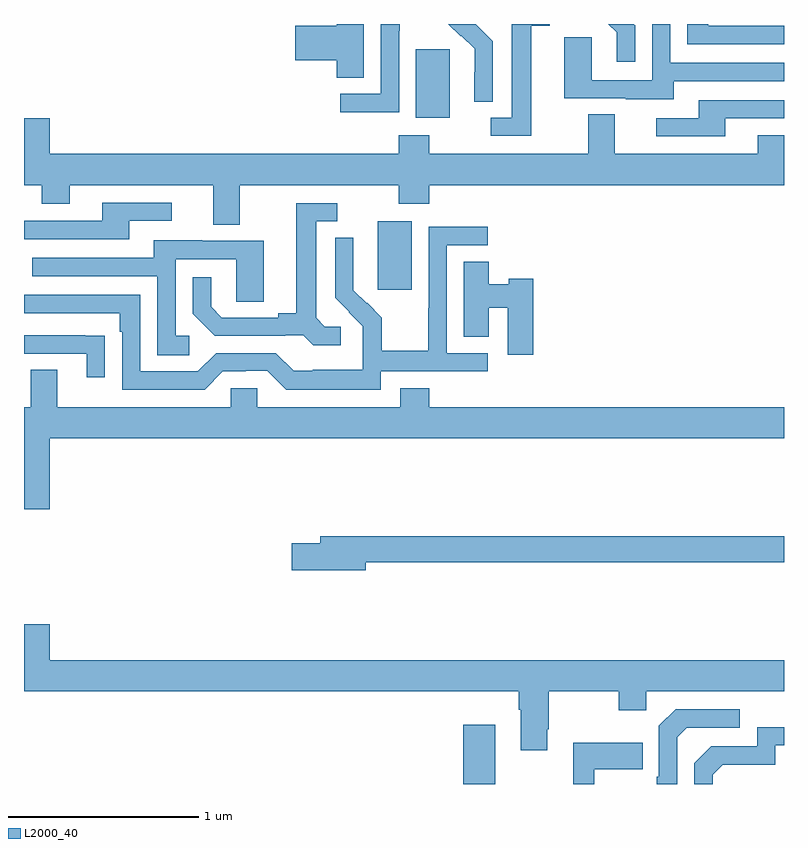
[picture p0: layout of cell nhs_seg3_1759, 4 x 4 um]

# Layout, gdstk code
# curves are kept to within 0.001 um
import gdstk
lib = gdstk.Library(unit=1e-6, precision=1e-09)
def R(c, l, rs):  # rectangles x0, y0, x1, y1
    for r in rs: c.add(gdstk.rectangle(r[:2], r[2:], *l))
def P(c, l, *ps):  # polygons
    for p in ps: c.add(gdstk.Polygon(p, *l))
L2000_40 = (2000, 40)

nhs_seg3_1759 = lib.new_cell('nhs_seg3_1759')
R(nhs_seg3_1759, L2000_40, [(203.312,728.4,203.479,728.713), (202.862,731.001,203.041,731.362), (203.063,731.906,203.242,732.267)])
P(nhs_seg3_1759, L2000_40, [(204.216,732.394),(204.21,732.4),(204.076,732.4),(204.119,732.357),(204.119,732.201),(204.216,732.201)],
  [(202.789,732.4),(202.646,732.4),(202.646,732.392),(202.428,732.392),(202.428,732.209),(202.646,732.209),(202.646,732.118),(202.789,732.118)],
  [(202.974,732.364),(202.977,732.364),(202.977,732.4),(202.878,732.4),(202.878,732.033),(202.665,732.033),(202.665,731.935),(202.974,731.935)],
  [(203.466,732.31),(203.393,732.383),(203.394,732.384),(203.378,732.4),(203.234,732.4),(203.298,732.336),(203.301,732.339),(203.372,732.269),(203.372,732.146),(203.37,732.146),(203.37,731.992),(203.466,731.992)],
  [(204.421,732.099),(205,732.099),(205,732.195),(204.402,732.195),(204.402,732.4),(204.306,732.4),(204.306,732.105),(203.988,732.105),(203.988,732.329),(203.843,732.329),(203.843,732.009),(204.167,732.009),(204.167,732.005),(204.421,732.005)],
  [(205,732.39),(204.601,732.39),(204.601,732.4),(204.492,732.4),(204.492,732.294),(205,732.294)],
  [(203.671,732.392),(203.767,732.392),(203.767,732.4),(203.567,732.4),(203.567,731.907),(203.457,731.907),(203.457,731.811),(203.671,731.811)],
  [(204.691,731.904),(205,731.904),(205,732),(204.551,732),(204.551,731.904),(204.327,731.904),(204.327,731.808),(204.691,731.808)],
  [(202.135,731.552),(202.972,731.552),(202.972,731.453),(203.132,731.453),(203.132,731.552),(205,731.552),(205,731.815),(204.863,731.815),(204.863,731.716),(204.109,731.716),(204.109,731.924),(203.969,731.924),(203.969,731.716),(203.133,731.716),(203.133,731.815),(202.973,731.815),(202.973,731.716),(201.136,731.716),(201.136,731.905),(201,731.905),(201,731.552),(201.094,731.552),(201.094,731.453),(201.241,731.453),(201.241,731.552),(201.995,731.552),(201.995,731.344),(202.135,731.344)],
  [(201.553,731.364),(201.778,731.364),(201.778,731.46),(201.413,731.46),(201.413,731.364),(201,731.364),(201,731.268),(201.553,731.268)],
  [(202.666,730.806),(202.584,730.806),(202.537,730.853),(202.537,731.361),(202.648,731.361),(202.648,731.457),(202.433,731.457),(202.433,730.877),(202.337,730.877),(202.337,730.854),(202.042,730.854),(201.985,730.911),(201.985,731.068),(201.888,731.068),(201.888,730.874),(202.004,730.758),(202.376,730.758),(202.376,730.761),(202.47,730.761),(202.522,730.709),(202.666,730.709)],
  [(202.878,730.572),(203.44,730.572),(203.44,730.668),(203.226,730.668),(203.226,731.235),(203.44,731.235),(203.44,731.334),(203.13,731.334),(203.13,730.904),(203.128,730.904),(203.128,730.681),(202.883,730.681),(202.883,730.855),(202.806,730.932),(202.803,730.929),(202.733,731),(202.734,731.276),(202.638,731.276),(202.638,730.958),(202.784,730.81),(202.784,730.713),(202.782,730.713),(202.782,730.579),(202.519,730.579),(202.519,730.575),(202.419,730.575),(202.326,730.668),(202.011,730.668),(201.915,730.572),(201.612,730.572),(201.612,730.974),(201,730.974),(201,730.878),(201.503,730.878),(201.503,730.781),(201.516,730.781),(201.516,730.476),(201.951,730.476),(202.047,730.572),(202.166,730.572),(202.166,730.575),(202.281,730.575),(202.381,730.475),(202.878,730.475)],
  [(201.871,730.758),(201.798,730.758),(201.798,731.163),(202.116,731.163),(202.116,730.939),(202.261,730.939),(202.261,731.259),(201.937,731.259),(201.937,731.263),(201.683,731.263),(201.683,731.169),(201.043,731.169),(201.043,731.073),(201.702,731.073),(201.702,730.657),(201.871,730.657)],
  [(203.681,731.06),(203.55,731.06),(203.55,731.029),(203.446,731.029),(203.446,731.15),(203.315,731.15),(203.315,730.753),(203.446,730.753),(203.446,730.907),(203.546,730.907),(203.546,730.659),(203.681,730.659)],
  [(201.425,730.76),(201.323,730.76),(201.323,730.761),(201,730.761),(201,730.665),(201.329,730.665),(201.329,730.542),(201.425,730.542)],
  [(201.136,730.22),(205,730.22),(205,730.384),(203.132,730.384),(203.132,730.483),(202.979,730.483),(202.979,730.384),(202.227,730.384),(202.227,730.482),(202.089,730.482),(202.089,730.384),(201.175,730.384),(201.175,730.579),(201.035,730.579),(201.035,730.384),(201,730.384),(201,729.846),(201.136,729.846)],
  [(202.798,729.568),(205,729.568),(205,729.704),(202.559,729.704),(202.559,729.668),(202.41,729.668),(202.41,729.526),(202.798,729.526)],
  [(203.755,728.689),(203.763,728.689),(203.763,728.888),(204.13,728.888),(204.13,728.789),(204.276,728.789),(204.276,728.888),(205,728.888),(205,729.052),(201.136,729.052),(201.136,729.241),(201,729.241),(201,728.888),(203.603,728.888),(203.603,728.792),(203.615,728.792),(203.615,728.577),(203.755,728.577)],
  [(204.438,728.646),(204.489,728.697),(204.766,728.697),(204.766,728.793),(204.429,728.793),(204.342,728.706),(204.342,728.437),(204.33,728.437),(204.33,728.4),(204.438,728.4)],
  [(204.624,728.448),(204.677,728.501),(204.954,728.501),(204.954,728.604),(205,728.604),(205,728.7),(204.858,728.7),(204.858,728.598),(204.618,728.598),(204.528,728.508),(204.528,728.4),(204.624,728.4)],
  [(204.001,728.477),(204.257,728.477),(204.257,728.617),(203.891,728.617),(203.891,728.4),(204.001,728.4)])

lib.write_gds('nhs_seg3_1759.gds')
